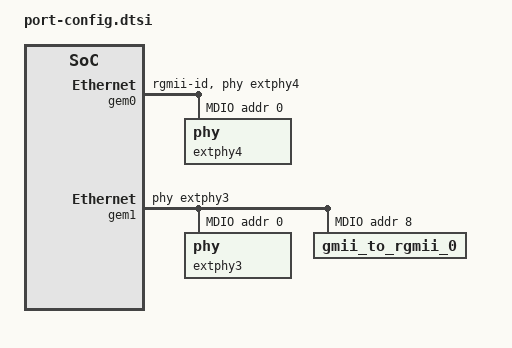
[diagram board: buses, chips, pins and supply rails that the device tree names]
/ {
};

    &gem0 {
        local-mac-address = [00 0a 35 00 01 26];
        phy-handle = <&extphy4>;
        phy-mode = "rgmii-id";
        status = "okay";
        xlnx,ptp-enet-clock = <0x69f6bcb>;
        xlnx,has-mdio = <0x1>;
        mdio {
                #address-cells = <1>;
                #size-cells = <0>;
                extphy4: phy@0 {
                        device_type = "ethernet-phy";
                        reg = <0>;
                };
        };
    };  
      
    &gem1 {
        local-mac-address = [00 0a 35 00 01 25];
        phy-handle = <&extphy3>;
        status = "okay";
        xlnx,has-mdio = <0x1>;
        mdio {
                #address-cells = <1>;
                #size-cells = <0>;
                extphy3: phy@0 {
                        device_type = "ethernet-phy";
                        reg = <0>;
                };
                gmii_to_rgmii_0: gmii_to_rgmii_0@8 {
                        phy-handle = <&extphy3>;
                        reg = <8>;
                };
        };
    };  
      

